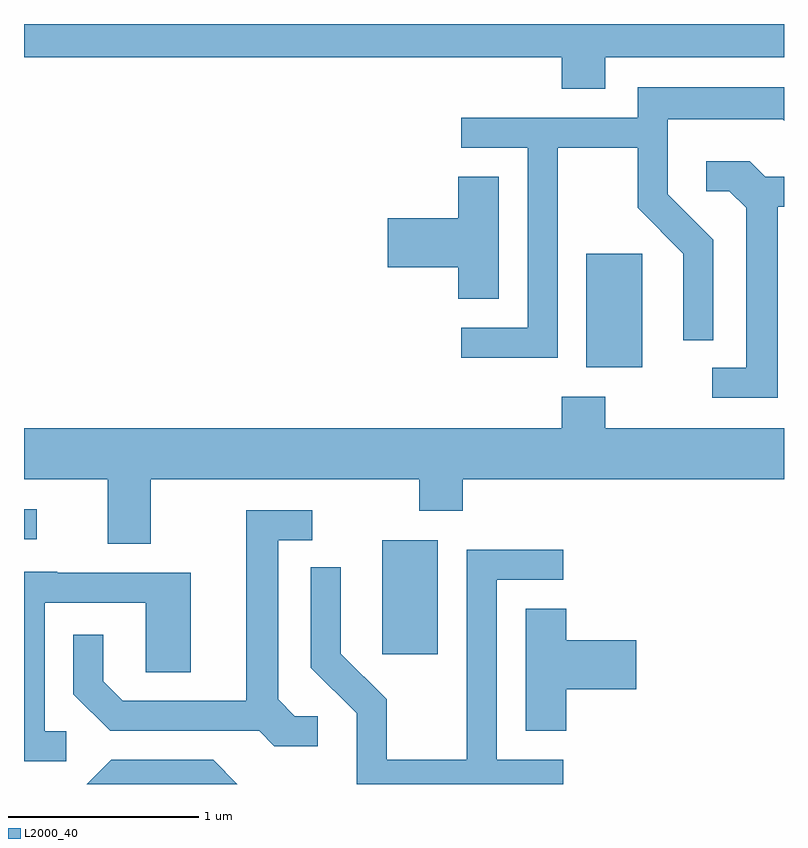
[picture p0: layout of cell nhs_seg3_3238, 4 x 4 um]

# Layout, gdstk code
import gdstk
lib = gdstk.Library(unit=1e-6, precision=1e-09)
def R(c, l, rs):  # rectangles x0, y0, x1, y1
    for r in rs: c.add(gdstk.rectangle(r[:2], r[2:], *l))
def P(c, l, *ps):  # polygons
    for p in ps: c.add(gdstk.Polygon(p, *l))
L2000_40 = (2000, 40)

nhs_seg3_3238 = lib.new_cell('nhs_seg3_3238')
R(nhs_seg3_3238, L2000_40, [(281.496,1200.576,281.789,1201.174), (279.611,1201.181,279.678,1201.339), (282.571,1202.086,282.864,1202.684)])
P(nhs_seg3_3238, L2000_40, [(282.669,1203.716),(283.611,1203.716),(283.611,1203.892),(279.611,1203.892),(279.611,1203.716),(282.441,1203.716),(282.441,1203.551),(282.669,1203.551)],
  [(282.419,1203.241),(282.841,1203.241),(282.841,1202.924),(283.081,1202.684),(283.081,1202.228),(283.239,1202.228),(283.239,1202.757),(282.999,1202.997),(282.999,1203.391),(283.604,1203.391),(283.611,1203.384),(283.611,1203.559),(282.841,1203.559),(282.841,1203.399),(281.913,1203.399),(281.913,1203.241),(282.261,1203.241),(282.261,1202.294),(281.913,1202.294),(281.913,1202.136),(282.419,1202.136)],
  [(283.579,1202.931),(283.611,1202.931),(283.611,1203.089),(283.512,1203.089),(283.432,1203.169),(283.203,1203.169),(283.203,1203.011),(283.324,1203.011),(283.411,1202.924),(283.411,1202.084),(283.233,1202.084),(283.233,1201.926),(283.579,1201.926)],
  [(282.109,1203.089),(281.896,1203.089),(281.896,1202.869),(281.526,1202.869),(281.526,1202.611),(281.896,1202.611),(281.896,1202.446),(282.109,1202.446)],
  [(280.279,1201.496),(281.691,1201.496),(281.691,1201.331),(281.919,1201.331),(281.919,1201.496),(283.611,1201.496),(283.611,1201.764),(282.669,1201.764),(282.669,1201.929),(282.441,1201.929),(282.441,1201.764),(279.611,1201.764),(279.611,1201.496),(280.051,1201.496),(280.051,1201.156),(280.279,1201.156)],
  [(281.158,1200.249),(281.037,1200.249),(280.949,1200.337),(280.949,1201.176),(281.128,1201.176),(281.128,1201.334),(280.781,1201.334),(280.781,1200.329),(280.132,1200.329),(280.029,1200.432),(280.029,1200.678),(279.871,1200.678),(279.871,1200.364),(280.064,1200.171),(280.849,1200.171),(280.929,1200.091),(281.158,1200.091)],
  [(282.448,1200.019),(282.099,1200.019),(282.099,1200.966),(282.448,1200.966),(282.448,1201.124),(281.941,1201.124),(281.941,1200.019),(281.519,1200.019),(281.519,1200.337),(281.279,1200.577),(281.279,1201.033),(281.121,1201.033),(281.121,1200.504),(281.361,1200.264),(281.361,1199.892),(282.448,1199.892)],
  [(279.833,1200.169),(279.719,1200.169),(279.719,1200.846),(280.251,1200.846),(280.251,1200.481),(280.489,1200.481),(280.489,1201.004),(279.785,1201.004),(279.785,1201.009),(279.611,1201.009),(279.611,1200.011),(279.833,1200.011)],
  [(282.464,1200.391),(282.834,1200.391),(282.834,1200.649),(282.464,1200.649),(282.464,1200.814),(282.251,1200.814),(282.251,1200.171),(282.464,1200.171)],
  [(280.607,1200.019),(280.069,1200.019),(279.942,1199.892),(280.734,1199.892)])

lib.write_gds('nhs_seg3_3238.gds')
